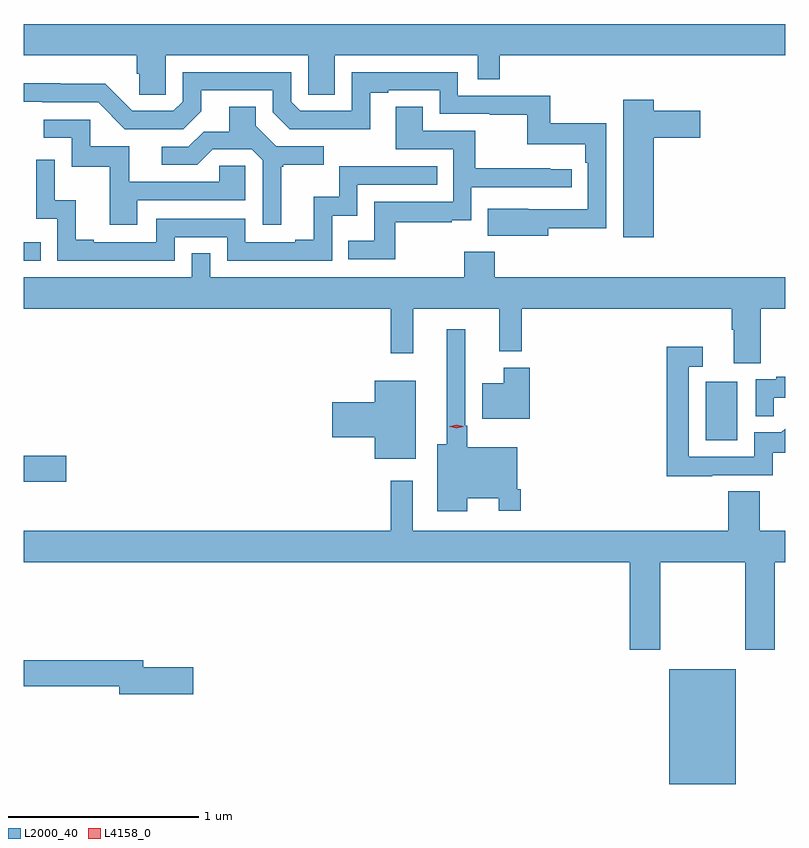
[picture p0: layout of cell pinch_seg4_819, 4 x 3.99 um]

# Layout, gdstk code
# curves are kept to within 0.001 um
import gdstk
lib = gdstk.Library(unit=1e-6, precision=1e-09)
def R(c, l, rs):  # rectangles x0, y0, x1, y1
    for r in rs: c.add(gdstk.rectangle(r[:2], r[2:], *l))
def P(c, l, *ps):  # polygons
    for p in ps: c.add(gdstk.Polygon(p, *l))
L2000_40 = (2000, 40)
L4158_0 = (4158, 0)

pinch_seg4_819 = lib.new_cell('pinch_seg4_819')
R(pinch_seg4_819, L2000_40, [(823.358,790.326,823.708,790.93), (819.966,791.915,820.189,792.05), (823.55,792.132,823.714,792.439), (819.966,793.077,820.055,793.173)])
P(pinch_seg4_819, L2000_40, [(820.71,794.156),(821.46,794.156),(821.46,793.948),(821.599,793.948),(821.599,794.156),(822.351,794.156),(822.351,794.029),(822.467,794.029),(822.467,794.156),(823.966,794.156),(823.966,794.32),(819.966,794.32),(819.966,794.156),(820.559,794.156),(820.559,794.058),(820.573,794.058),(820.573,793.948),(820.71,793.948)],
  [(822.721,793.246),(823.026,793.246),(823.026,793.798),(822.733,793.798),(822.733,793.944),(822.246,793.944),(822.246,794.067),(821.688,794.067),(821.688,793.863),(821.418,793.863),(821.37,793.911),(821.37,794.067),(820.8,794.067),(820.8,793.911),(820.752,793.863),(820.536,793.863),(820.394,794.005),(820.158,794.005),(820.158,794.008),(819.966,794.008),(819.966,793.911),(820.063,793.911),(820.063,793.908),(820.356,793.908),(820.497,793.767),(820.803,793.767),(820.897,793.861),(820.897,793.971),(821.274,793.971),(821.274,793.857),(821.364,793.767),(821.785,793.766),(821.785,793.959),(821.881,793.959),(821.881,793.971),(822.15,793.971),(822.15,793.848),(822.415,793.848),(822.415,793.843),(822.612,793.843),(822.612,793.688),(822.917,793.688),(822.917,793.592),(822.93,793.592),(822.93,793.347),(822.403,793.348),(822.403,793.208),(822.721,793.208)],
  [(823.276,793.721),(823.519,793.721),(823.519,793.863),(823.276,793.863),(823.276,793.921),(823.115,793.921),(823.115,793.2),(823.276,793.2)],
  [(821.917,793.278),(822.215,793.278),(822.215,793.289),(822.318,793.289),(822.318,793.461),(822.844,793.461),(822.844,793.557),(822.731,793.557),(822.731,793.562),(822.338,793.562),(822.338,793.758),(822.061,793.758),(822.061,793.886),(821.921,793.886),(821.921,793.662),(822.222,793.662),(822.222,793.386),(821.806,793.386),(821.806,793.18),(821.671,793.18),(821.671,793.083),(821.917,793.083)],
  [(821.317,793.569),(821.329,793.569),(821.329,793.58),(821.542,793.58),(821.542,793.677),(821.292,793.677),(821.185,793.784),(821.185,793.886),(821.045,793.886),(821.045,793.754),(820.91,793.754),(820.83,793.674),(820.689,793.674),(820.689,793.581),(820.876,793.581),(820.957,793.662),(821.163,793.662),(821.22,793.605),(821.22,793.266),(821.317,793.266)],
  [(820.561,793.395),(821.13,793.395),(821.13,793.575),(820.993,793.575),(820.993,793.491),(820.519,793.491),(820.519,793.677),(820.314,793.677),(820.314,793.818),(820.071,793.818),(820.071,793.722),(820.218,793.722),(820.218,793.569),(820.417,793.569),(820.417,793.266),(820.561,793.266)],
  [(820.758,793.2),(821.034,793.2),(821.034,793.077),(821.586,793.077),(821.586,793.313),(821.718,793.313),(821.718,793.476),(822.137,793.476),(822.137,793.572),(821.622,793.572),(821.622,793.411),(821.489,793.411),(821.489,793.186),(821.393,793.186),(821.393,793.173),(821.13,793.173),(821.13,793.296),(820.662,793.296),(820.662,793.173),(820.333,793.173),(820.333,793.186),(820.238,793.186),(820.238,793.394),(820.128,793.394),(820.128,793.606),(820.032,793.606),(820.032,793.296),(820.14,793.296),(820.14,793.077),(820.758,793.077)],
  [(823.837,792.824),(823.966,792.824),(823.966,792.988),(822.44,792.988),(822.44,793.123),(822.28,793.123),(822.28,792.988),(820.944,792.988),(820.944,793.115),(820.848,793.115),(820.848,792.988),(819.966,792.988),(819.966,792.824),(821.893,792.824),(821.893,792.591),(822.011,792.591),(822.011,792.824),(822.464,792.824),(822.464,792.599),(822.581,792.599),(822.581,792.824),(823.685,792.824),(823.685,792.712),(823.697,792.712),(823.697,792.538),(823.837,792.538)],
  [(822.295,791.828),(822.461,791.828),(822.461,791.763),(822.578,791.763),(822.578,791.875),(822.558,791.875),(822.558,792.097),(822.295,792.097),(822.295,792.208),(822.285,792.208),(822.285,792.715),(822.188,792.715),(822.188,792.112),(822.137,792.112),(822.137,791.76),(822.295,791.76)],
  [(823.583,791.949),(823.902,791.949),(823.902,792.066),(823.966,792.066),(823.966,792.193),(823.947,792.174),(823.803,792.174),(823.803,792.045),(823.461,792.045),(823.461,792.519),(823.534,792.519),(823.534,792.625),(823.345,792.625),(823.345,791.944),(823.583,791.944)],
  [(822.623,792.514),(822.488,792.514),(822.488,792.433),(822.374,792.433),(822.374,792.245),(822.623,792.245)],
  [(823.907,792.357),(823.966,792.357),(823.966,792.466),(823.919,792.466),(823.919,792.453),(823.812,792.453),(823.812,792.259),(823.907,792.259)],
  [(822.025,792.445),(821.81,792.445),(821.81,792.332),(821.586,792.332),(821.586,792.149),(821.81,792.149),(821.81,792.035),(822.025,792.035)],
  [(823.311,791.492),(823.756,791.492),(823.756,791.031),(823.911,791.031),(823.911,791.492),(823.966,791.492),(823.966,791.656),(823.832,791.656),(823.832,791.864),(823.667,791.864),(823.667,791.656),(822.009,791.656),(822.009,791.92),(821.893,791.92),(821.893,791.656),(819.966,791.656),(819.966,791.492),(823.151,791.492),(823.151,791.031),(823.311,791.031)],
  [(820.855,790.94),(820.594,790.94),(820.594,790.976),(819.966,790.976),(819.966,790.84),(820.466,790.84),(820.466,790.798),(820.855,790.798)])
P(pinch_seg4_819, L4158_0, [(822.24,792.195),(822.204,792.204),(822.204,792.205),(822.204,792.205),(822.24,792.214),(822.276,792.205),(822.276,792.204),(822.276,792.204)])

lib.write_gds('pinch_seg4_819.gds')
